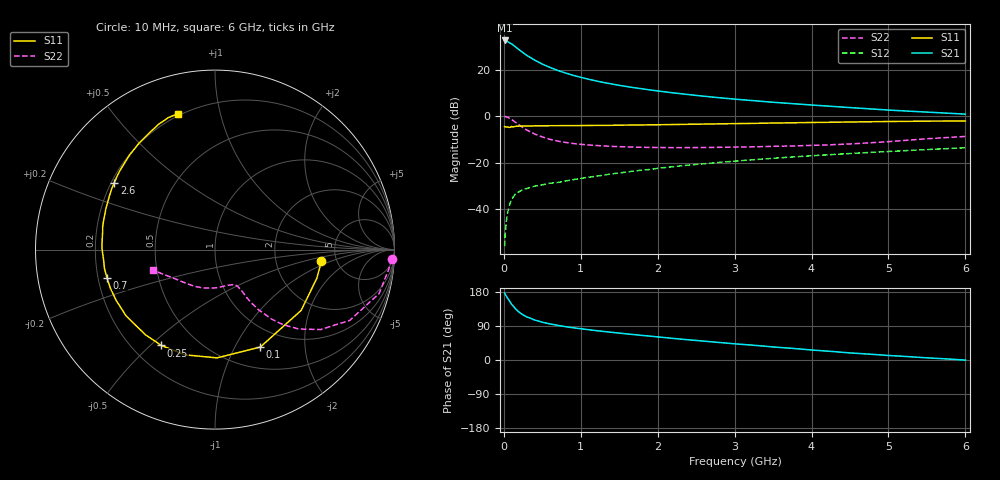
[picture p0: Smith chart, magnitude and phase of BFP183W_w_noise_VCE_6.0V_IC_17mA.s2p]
! Infineon Technologies  Discrete & RF Semiconductors
! BFP183W
! VCE =  6.0 V,  IC =  17 mA
! Common Emitter S-Parameters:  Jan 2017
# GHz  S  MA  R  50
!  f  S11  S21  S12  S22
! GHz  MAG  ANG  MAG  ANG  MAG  ANG  MAG  ANG
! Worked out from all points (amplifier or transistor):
!   77 points, 10 MHz to 6 GHz, reference 50 ohm
!   highest |S21| = 32.5 dB at 10 MHz (marker M1)
!   |S21| within 3 dB of that: start of sweep to 161.4 MHz
!   unconditionally stable (mu >= 1): 1.277 GHz to 3.674 GHz
!   at 130 MHz: K = 0.20, MSG = 32.4 dB, |S12| = -34.4 dB
!   at 2.2 GHz: K = 1.06, MAG = 14.4 dB, |S12| = -21.7 dB
!   at 6 GHz: K = 0.86, MSG = 7.2 dB, |S12| = -13.6 dB
!   lowest NFmin = 1.12 dB at 450 MHz
!   S11 on the Smith chart (normalised r, x): 10 MHz: 3.79, -0.77; 100 MHz: 0.75, -1.27; 250 MHz: 0.32, -0.54; 700 MHz: 0.24, -0.12; 2.6 GHz: 0.21, +0.29; 6 GHz: 0.19, +0.75
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0.01  0.5966 -6.3  42.28 176.9  0.0016 80.4  0.9859 -3.0
0.02  0.5894 -15.7  41.94 172.6  0.0033 92.9  0.9757 -6.1
0.05  0.5876 -35.2  40.01 162.5  0.0086 73.2  0.9465 -15.0
0.1  0.5987 -65.1  35.81 147.2  0.0159 66.1  0.8483 -27.7
0.15  0.6034 -89.0  30.99 135.3  0.0212 56.8  0.7385 -37.1
0.2  0.6097 -106.0  26.62 126.0  0.0237 50.1  0.6428 -43.5
0.25  0.6121 -119.3  23.07 118.9  0.0267 46.4  0.5644 -47.8
0.3  0.6128 -129.2  20.14 113.5  0.0278 45.8  0.5008 -50.8
0.4  0.6178 -143.3  15.99 105.4  0.0312 43.2  0.4125 -54.2
0.5  0.619 -152.7  13.11 99.7  0.0333 44.2  0.3566 -55.8
0.6  0.6214 -159.9  11.12 95.2  0.036 44.9  0.3171 -56.6
0.7  0.6223 -165.5  9.596 91.4  0.0375 46.7  0.2904 -56.8
0.9  0.6232 -174.3  7.527 85.1  0.043 49.0  0.2579 -57.7
1.1  0.63 179.1  6.216 80.0  0.0485 51.8  0.2402 -58.5
1.3  0.632 173.1  5.27 75.3  0.0538 53.0  0.2287 -60.1
1.5  0.6385 168.5  4.585 71.0  0.0599 54.5  0.2203 -62.5
2.1  0.6548 155.5  3.314 59.0  0.0786 56.0  0.2105 -73.1
2.6  0.6736 146.4  2.676 49.7  0.0945 55.5  0.2115 -85.0
3.1  0.6925 138.3  2.246 41.2  0.1108 54.0  0.2164 -97.4
4.1  0.7323 123.9  1.688 25.0  0.1437 49.6  0.2374 -122.9
5.1  0.7683 113.2  1.321 10.8  0.1768 44.2  0.2908 -148.3
6  0.7853 105.1  1.103 -0.2  0.2086 38.4  0.3655 -162.3
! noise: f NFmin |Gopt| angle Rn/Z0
0.45  1.12  0.17  164  -0.02
0.9  1.15  0.23  169  0.09
1.9  1.61  0.4  -165  0.08
2.4  1.84  0.44  -159  0.11
